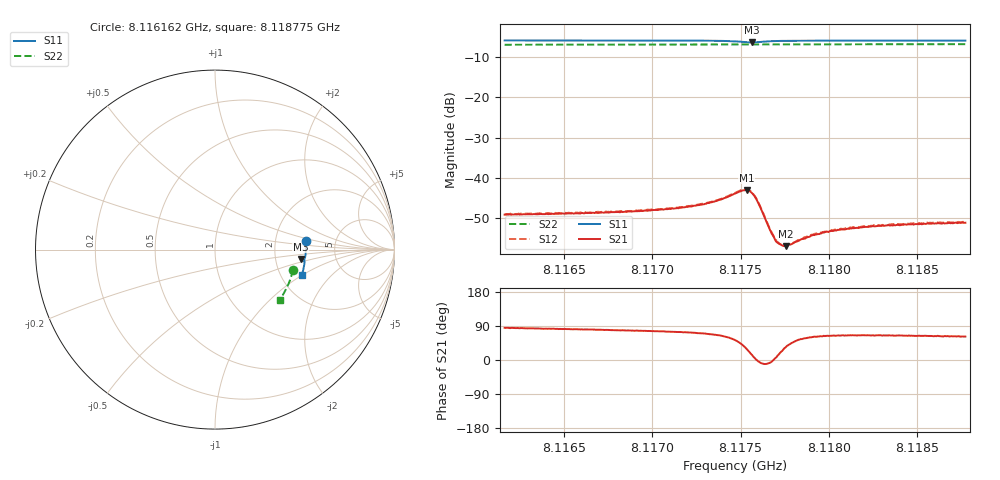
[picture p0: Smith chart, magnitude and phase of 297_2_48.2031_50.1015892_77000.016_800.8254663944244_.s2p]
#  HZ  S  RI  R  50.00
! Rohde & Schwarz Vector Network Analyzer
! Rohde-Schwarz,ZNB20-2Port,1311601062101988,3.16
! Created: UTC 3/20/2024, 11:49:19 AM
! freq[Hz]  re:S11  im:S11  re:S21  im:S21  re:S12  im:S12  re:S22  im:S22
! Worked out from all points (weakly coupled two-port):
!   401 points, 8.116162 GHz to 8.118775 GHz, reference 50 ohm
!   highest |S21| = -42.97 dB at 8.117534 GHz (marker M1); lowest = -56.9 dB at 8.117756 GHz (marker M2)
!   lowest |S11| = -6.4 dB at 8.117566 GHz (marker M3), VSWR 2.84, Z = 139 - j18.8 ohm
!   |S11| at or under -10 dB: nowhere
!   |S22| runs from -7.0 to -6.8 dB; largest |S21 - S12| = 0.00022
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8.1161621e9  0.505 0.0461  0.000312 0.0035  0.000385 0.00356  0.4344 -0.1127
8.1165997e9  0.5062 0.013  0.000577 0.00365  0.000634 0.00364  0.427 -0.142
8.1170374e9  0.505 -0.021  0.00101 0.00393  0.00107 0.00398  0.4178 -0.171
8.1171353e9  0.5043 -0.029  0.00117 0.00405  0.00122 0.00413  0.4151 -0.1775
8.1172921e9  0.5019 -0.0426  0.00161 0.00445  0.00175 0.00453  0.4112 -0.1876
8.117377e9  0.4989 -0.0509  0.00226 0.00486  0.00236 0.00486  0.4087 -0.1933
8.1174685e9  0.491 -0.0601  0.0039 0.0051  0.00402 0.00517  0.4058 -0.1991
8.1175077e9  0.4842 -0.0616  0.00526 0.00458  0.00542 0.0046  0.4044 -0.2014
8.1175338e9  0.4792 -0.0592  0.00618 0.00351  0.00632 0.00342  0.4036 -0.203
8.1175665e9  0.4767 -0.0519  0.00631 0.0014  0.00646 0.00133  0.4026 -0.2044
8.1175991e9  0.4816 -0.0459  0.00497 -0.000274  0.00507 -0.000339  0.402 -0.2062
8.1176645e9  0.4933 -0.0488  0.00232 -0.000311  0.00236 -0.000313  0.4008 -0.2105
8.1176906e9  0.4957 -0.0519  0.00182 6.18e-05  0.00184 7.31e-05  0.4001 -0.212
8.1177102e9  0.4967 -0.0544  0.00154 0.000323  0.00158 0.000318  0.3994 -0.2135
8.1177232e9  0.4974 -0.056  0.00144 0.000479  0.00146 0.00045  0.3991 -0.2142
8.1177559e9  0.4982 -0.0597  0.00119 0.000789  0.00125 0.000792  0.398 -0.2164
8.1177951e9  0.4987 -0.0639  0.00107 0.00111  0.00112 0.00109  0.3969 -0.2189
8.1179061e9  0.4986 -0.0745  0.000961 0.0017  0.000978 0.00173  0.3933 -0.226
8.117978e9  0.4979 -0.0808  0.000967 0.0019  0.000977 0.00193  0.391 -0.2304
8.1180629e9  0.4968 -0.0879  0.000988 0.00206  0.001 0.00211  0.3882 -0.2357
8.1183438e9  0.4926 -0.1095  0.00109 0.00235  0.00117 0.00239  0.3781 -0.2528
8.1187749e9  0.4843 -0.141  0.00132 0.00246  0.00136 0.00251  0.3617 -0.2781
